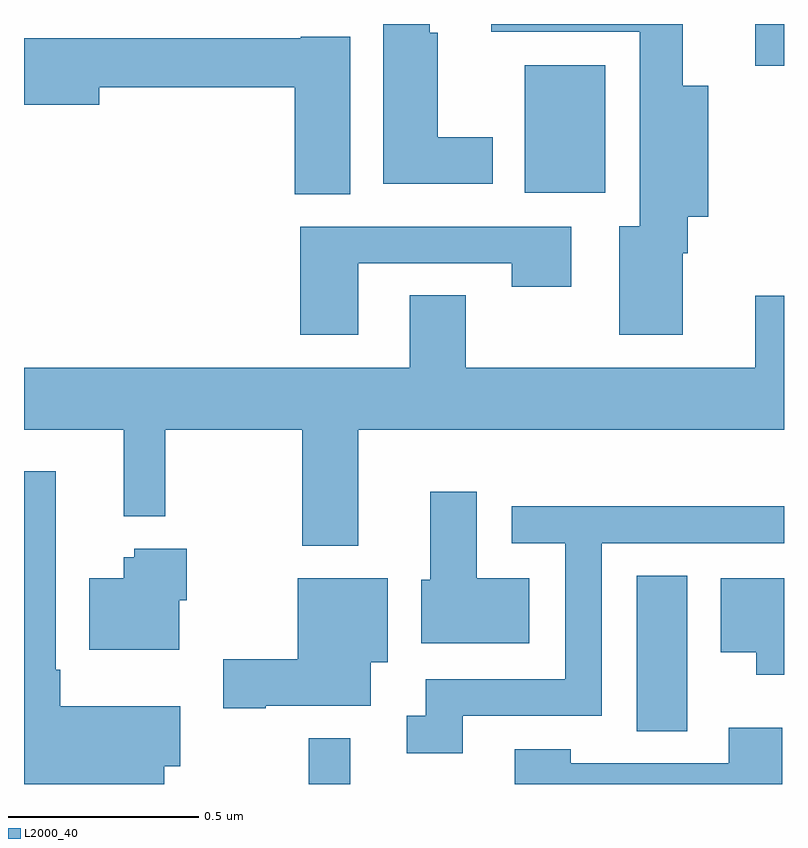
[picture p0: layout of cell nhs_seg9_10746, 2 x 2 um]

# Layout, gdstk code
import gdstk
lib = gdstk.Library(unit=1e-6, precision=1e-09)
def R(c, l, rs):  # rectangles x0, y0, x1, y1
    for r in rs: c.add(gdstk.rectangle(r[:2], r[2:], *l))
def P(c, l, *ps):  # polygons
    for p in ps: c.add(gdstk.Polygon(p, *l))
L2000_40 = (2000, 40)

nhs_seg9_10746 = lib.new_cell('nhs_seg9_10746')
R(nhs_seg9_10746, L2000_40, [(247.749,1183.5,247.858,1183.621), (248.612,1183.639,248.746,1184.048), (248.318,1185.056,248.53,1185.391), (248.924,1185.39,249,1185.5)])
P(nhs_seg9_10746, L2000_40, [(248.734,1184.897),(248.747,1184.897),(248.747,1184.993),(248.8,1184.993),(248.8,1185.337),(248.734,1185.337),(248.734,1185.5),(248.229,1185.5),(248.229,1185.48),(248.621,1185.48),(248.621,1184.968),(248.567,1184.968),(248.567,1184.682),(248.734,1184.682)],
  [(248.233,1185.202),(248.089,1185.202),(248.089,1185.477),(248.068,1185.477),(248.068,1185.5),(247.946,1185.5),(247.946,1185.08),(248.233,1185.08)],
  [(247.858,1185.466),(247.728,1185.466),(247.728,1185.463),(247,1185.463),(247,1185.287),(247.198,1185.287),(247.198,1185.334),(247.712,1185.334),(247.712,1185.052),(247.858,1185.052)],
  [(247.879,1184.871),(248.284,1184.871),(248.284,1184.808),(248.44,1184.808),(248.44,1184.967),(247.727,1184.967),(247.727,1184.682),(247.879,1184.682)],
  [(247.879,1184.432),(249,1184.432),(249,1184.785),(248.924,1184.785),(248.924,1184.596),(248.163,1184.596),(248.163,1184.786),(248.015,1184.786),(248.015,1184.596),(247,1184.596),(247,1184.432),(247.262,1184.432),(247.262,1184.204),(247.372,1184.204),(247.372,1184.432),(247.732,1184.432),(247.732,1184.127),(247.879,1184.127)],
  [(247.369,1183.547),(247.411,1183.547),(247.411,1183.705),(247.096,1183.705),(247.096,1183.801),(247.083,1183.801),(247.083,1184.323),(247,1184.323),(247,1183.5),(247.369,1183.5)],
  [(248.329,1184.041),(248.191,1184.041),(248.191,1184.269),(248.069,1184.269),(248.069,1184.037),(248.045,1184.037),(248.045,1183.871),(248.329,1183.871)],
  [(248.155,1183.68),(248.52,1183.68),(248.52,1184.133),(249,1184.133),(249,1184.231),(248.283,1184.231),(248.283,1184.133),(248.424,1184.133),(248.424,1183.776),(248.057,1183.776),(248.057,1183.679),(248.007,1183.679),(248.007,1183.581),(248.155,1183.581)],
  [(247.408,1183.983),(247.428,1183.983),(247.428,1184.119),(247.29,1184.119),(247.29,1184.097),(247.262,1184.097),(247.262,1184.041),(247.172,1184.041),(247.172,1183.853),(247.408,1183.853)],
  [(249,1184.041),(248.834,1184.041),(248.834,1183.847),(248.927,1183.847),(248.927,1183.787),(249,1183.787)],
  [(247.636,1183.706),(247.912,1183.706),(247.912,1183.82),(247.957,1183.82),(247.957,1184.041),(247.721,1184.041),(247.721,1183.828),(247.524,1183.828),(247.524,1183.699),(247.636,1183.699)],
  [(248.995,1183.648),(248.855,1183.648),(248.855,1183.554),(248.439,1183.554),(248.439,1183.591),(248.291,1183.591),(248.291,1183.5),(248.995,1183.5)])

lib.write_gds('nhs_seg9_10746.gds')
